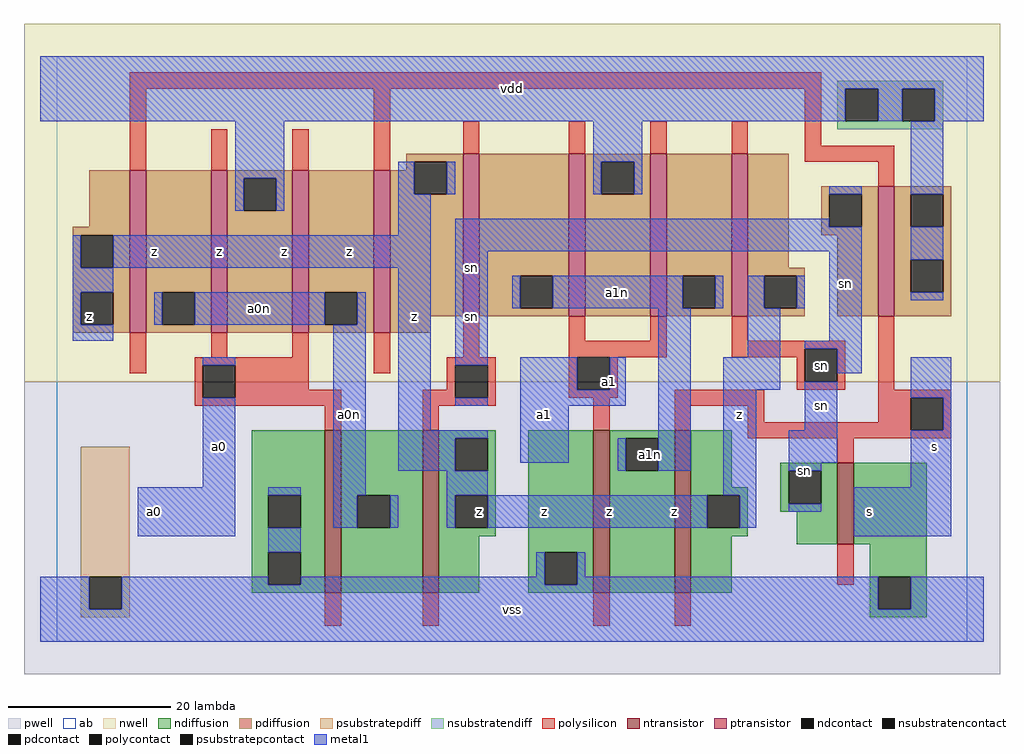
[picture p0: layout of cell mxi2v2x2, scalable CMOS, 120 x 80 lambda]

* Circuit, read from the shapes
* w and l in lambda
.subckt mxi2v2x2 a0 a0n a1 a1n s sn vdd vss z
M1 a0n a0 vss vss nfet w=20 l=2
M2 z sn a0n vss nfet w=20 l=2
M3 a1n a1 vss vss nfet w=20 l=2
M4 z s a1n vss nfet w=20 l=2
M5 vss s sn vss nfet w=10 l=2
M6 a0n s z vdd pfet w=20 l=2 m=2
M7 vdd a0 a0n vdd pfet w=20 l=2 m=2
M8 a1n sn z vdd pfet w=20 l=2 m=2
M9 vdd a1 a1n vdd pfet w=20 l=2 m=2
M10 vdd s sn vdd pfet w=16 l=2
.ends

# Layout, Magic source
magic
tech scmos
<< ab >>
rect 0 0 112 72
<< pwell >>
rect -4 -4 116 32
<< nwell >>
rect -4 32 116 76
<< polysilicon >>
rect 9 68 94 70
rect 9 58 11 68
rect 19 58 21 63
rect 29 58 31 63
rect 39 58 41 68
rect 50 60 52 64
rect 63 60 65 64
rect 73 60 75 64
rect 83 60 85 64
rect 92 61 94 68
rect 92 59 103 61
rect 101 56 103 59
rect 9 33 11 38
rect 19 35 21 38
rect 29 35 31 38
rect 17 34 31 35
rect 17 30 18 34
rect 22 31 31 34
rect 39 33 41 38
rect 50 35 52 40
rect 63 37 65 40
rect 73 37 75 40
rect 63 35 75 37
rect 83 37 85 40
rect 83 36 97 37
rect 83 35 92 36
rect 48 34 54 35
rect 48 31 49 34
rect 22 30 35 31
rect 17 29 35 30
rect 33 26 35 29
rect 45 30 49 31
rect 53 30 54 34
rect 63 31 64 35
rect 68 31 69 35
rect 91 32 92 35
rect 96 32 97 36
rect 91 31 97 32
rect 101 31 103 40
rect 63 30 69 31
rect 45 29 54 30
rect 45 26 47 29
rect 66 26 68 30
rect 76 29 87 31
rect 76 26 78 29
rect 85 27 87 29
rect 101 30 110 31
rect 101 27 105 30
rect 85 26 105 27
rect 109 26 110 30
rect 85 25 110 26
rect 96 22 98 25
rect 96 7 98 12
rect 33 2 35 6
rect 45 2 47 6
rect 66 2 68 6
rect 76 2 78 6
<< ndiffusion >>
rect 24 18 33 26
rect 24 14 26 18
rect 30 14 33 18
rect 24 11 33 14
rect 24 7 26 11
rect 30 7 33 11
rect 24 6 33 7
rect 35 18 45 26
rect 35 14 37 18
rect 41 14 45 18
rect 35 6 45 14
rect 47 25 54 26
rect 47 21 49 25
rect 53 21 54 25
rect 47 18 54 21
rect 47 14 49 18
rect 53 14 54 18
rect 47 13 54 14
rect 47 6 52 13
rect 58 11 66 26
rect 58 7 60 11
rect 64 7 66 11
rect 58 6 66 7
rect 68 25 76 26
rect 68 21 70 25
rect 74 21 76 25
rect 68 6 76 21
rect 78 19 83 26
rect 89 21 96 22
rect 78 18 85 19
rect 78 14 80 18
rect 84 14 85 18
rect 89 17 90 21
rect 94 17 96 21
rect 89 16 96 17
rect 78 13 85 14
rect 78 6 83 13
rect 91 12 96 16
rect 98 12 107 22
rect 100 8 107 12
rect 100 4 101 8
rect 105 4 107 8
rect 100 3 107 4
<< pdiffusion >>
rect 43 59 50 60
rect 43 58 44 59
rect 4 51 9 58
rect 2 50 9 51
rect 2 46 3 50
rect 7 46 9 50
rect 2 43 9 46
rect 2 39 3 43
rect 7 39 9 43
rect 2 38 9 39
rect 11 43 19 58
rect 11 39 13 43
rect 17 39 19 43
rect 11 38 19 39
rect 21 57 29 58
rect 21 53 23 57
rect 27 53 29 57
rect 21 38 29 53
rect 31 43 39 58
rect 31 39 33 43
rect 37 39 39 43
rect 31 38 39 39
rect 41 55 44 58
rect 48 55 50 59
rect 41 40 50 55
rect 52 45 63 60
rect 52 41 57 45
rect 61 41 63 45
rect 52 40 63 41
rect 65 59 73 60
rect 65 55 67 59
rect 71 55 73 59
rect 65 40 73 55
rect 75 45 83 60
rect 75 41 77 45
rect 81 41 83 45
rect 75 40 83 41
rect 85 46 90 60
rect 94 55 101 56
rect 94 51 95 55
rect 99 51 101 55
rect 94 50 101 51
rect 85 45 92 46
rect 85 41 87 45
rect 91 41 92 45
rect 85 40 92 41
rect 96 40 101 50
rect 103 55 110 56
rect 103 51 105 55
rect 109 51 110 55
rect 103 47 110 51
rect 103 43 105 47
rect 109 43 110 47
rect 103 40 110 43
rect 41 38 46 40
<< metal1 >>
rect -2 68 114 72
rect -2 64 97 68
rect 101 64 104 68
rect 108 64 114 68
rect 22 57 28 64
rect 66 59 72 64
rect 22 53 23 57
rect 27 53 28 57
rect 42 55 44 59
rect 48 55 49 59
rect 66 55 67 59
rect 71 55 72 59
rect 95 55 99 56
rect 42 50 46 55
rect 2 46 3 50
rect 7 46 46 50
rect 2 43 7 46
rect 2 39 3 43
rect 12 39 13 43
rect 17 39 33 43
rect 37 39 38 43
rect 2 37 7 39
rect 18 34 22 35
rect 18 19 22 30
rect 10 13 22 19
rect 26 18 30 19
rect 34 18 38 39
rect 42 26 46 46
rect 49 51 95 52
rect 49 48 99 51
rect 49 34 53 48
rect 56 41 57 45
rect 61 41 77 45
rect 81 41 82 45
rect 85 41 87 45
rect 91 41 92 45
rect 49 29 53 30
rect 57 31 64 35
rect 68 31 70 35
rect 57 29 70 31
rect 42 25 53 26
rect 42 21 49 25
rect 57 22 63 29
rect 69 21 70 25
rect 74 21 78 41
rect 85 35 89 41
rect 95 37 99 48
rect 105 55 109 64
rect 105 47 109 51
rect 105 42 109 43
rect 82 31 89 35
rect 92 36 99 37
rect 96 33 99 36
rect 48 18 53 21
rect 82 18 86 31
rect 92 26 96 32
rect 34 14 37 18
rect 41 14 42 18
rect 48 14 49 18
rect 53 14 80 18
rect 84 14 86 18
rect 90 22 96 26
rect 105 30 110 35
rect 109 26 110 30
rect 90 21 94 22
rect 105 19 110 26
rect 90 16 94 17
rect 26 11 30 14
rect 98 13 110 19
rect -2 4 4 8
rect 8 7 26 8
rect 59 8 60 11
rect 30 7 60 8
rect 64 8 65 11
rect 64 7 101 8
rect 8 4 101 7
rect 105 4 114 8
rect -2 0 114 4
<< ntransistor >>
rect 33 6 35 26
rect 45 6 47 26
rect 66 6 68 26
rect 76 6 78 26
rect 96 12 98 22
<< ptransistor >>
rect 9 38 11 58
rect 19 38 21 58
rect 29 38 31 58
rect 39 38 41 58
rect 50 40 52 60
rect 63 40 65 60
rect 73 40 75 60
rect 83 40 85 60
rect 101 40 103 56
<< polycontact >>
rect 18 30 22 34
rect 49 30 53 34
rect 64 31 68 35
rect 92 32 96 36
rect 105 26 109 30
<< ndcontact >>
rect 26 14 30 18
rect 26 7 30 11
rect 37 14 41 18
rect 49 21 53 25
rect 49 14 53 18
rect 60 7 64 11
rect 70 21 74 25
rect 80 14 84 18
rect 90 17 94 21
rect 101 4 105 8
<< pdcontact >>
rect 3 46 7 50
rect 3 39 7 43
rect 13 39 17 43
rect 23 53 27 57
rect 33 39 37 43
rect 44 55 48 59
rect 57 41 61 45
rect 67 55 71 59
rect 77 41 81 45
rect 95 51 99 55
rect 87 41 91 45
rect 105 51 109 55
rect 105 43 109 47
<< psubstratepcontact >>
rect 4 4 8 8
<< nsubstratencontact >>
rect 97 64 101 68
rect 104 64 108 68
<< psubstratepdiff >>
rect 3 8 9 24
rect 3 4 4 8
rect 8 4 9 8
rect 3 3 9 4
<< nsubstratendiff >>
rect 96 68 109 69
rect 96 64 97 68
rect 101 64 104 68
rect 108 64 109 68
rect 96 63 109 64
<< labels >>
rlabel ptransistor 51 46 51 46 6 sn
rlabel polycontact 94 34 94 34 6 sn
rlabel metal1 12 16 12 16 6 a0
rlabel pdcontact 4 40 4 40 6 z
rlabel metal1 12 48 12 48 6 z
rlabel metal1 20 24 20 24 6 a0
rlabel metal1 25 41 25 41 6 a0n
rlabel metal1 36 28 36 28 6 a0n
rlabel metal1 20 48 20 48 6 z
rlabel metal1 28 48 28 48 6 z
rlabel metal1 36 48 36 48 6 z
rlabel metal1 56 4 56 4 6 vss
rlabel metal1 60 16 60 16 6 z
rlabel ndcontact 52 16 52 16 6 z
rlabel metal1 60 28 60 28 6 a1
rlabel metal1 44 40 44 40 6 z
rlabel metal1 51 40 51 40 6 sn
rlabel metal1 56 68 56 68 6 vdd
rlabel metal1 76 16 76 16 6 z
rlabel metal1 68 16 68 16 6 z
rlabel ndcontact 73 23 73 23 6 a1n
rlabel metal1 84 28 84 28 6 z
rlabel metal1 68 32 68 32 6 a1
rlabel metal1 69 43 69 43 6 a1n
rlabel metal1 100 16 100 16 6 s
rlabel metal1 92 21 92 21 6 sn
rlabel metal1 108 24 108 24 6 s
rlabel metal1 94 29 94 29 6 sn
rlabel metal1 97 44 97 44 6 sn
<< end >>
